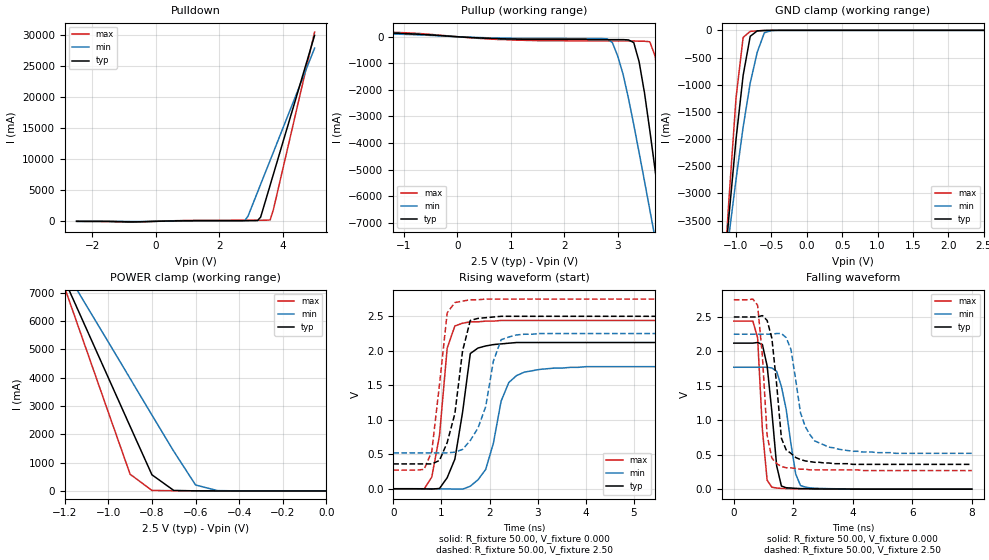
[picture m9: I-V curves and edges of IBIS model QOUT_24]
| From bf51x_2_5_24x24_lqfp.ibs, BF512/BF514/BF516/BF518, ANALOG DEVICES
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|   Model prw1624cdg_25
[Model]   QOUT_24
Model_type   I/O
Polarity   Non-Inverting
Enable   Active-Low
Vinl =   0.70V
Vinh =   1.70V
Vmeas =   1.20V
Cref =  50.00pF
Rref =   1.00M
Vref =  0.000V
C_comp   4.85pF   4.37pF   5.34pF
[Temperature Range]   25.00   0.12k   -40.00
[Voltage Range]   2.50V   2.25V   2.75V
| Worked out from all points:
|   slope of the pulldown table from 0 to 0.375 V, typ, clamps not added: 8.41 ohm
|   slope of the pullup table from 0 to 0.375 V, typ, clamps not added: 8.85 ohm
|   GND clamp passes 1 mA (typ) near -0.53 V on its own axis
|   POWER clamp passes 1 mA (typ) near -0.53 V on its own axis
|   rising waveform, R_fixture 50.00, V_fixture 0.000: 20-80 % time 274ps typ, 375ps min, 224ps max; typ from 0 V to 2.12 V
|   rising waveform, R_fixture 50.00, V_fixture 2.50: 20-80 % time 301ps typ, 360ps min, 237ps max; typ from 0.36 V to 2.5 V
|   falling waveform, R_fixture 50.00, V_fixture 0.000: 20-80 % time 280ps typ, 395ps min, 213ps max; typ from 2.12 V to 0 V
|   falling waveform, R_fixture 50.00, V_fixture 2.50: 20-80 % time 282ps typ, 493ps min, 236ps max; typ from 2.5 V to 0.36 V
[Pulldown]
| voltage   I(typ)   I(min)   I(max)
-2.5V     0A         0A         0A
-900mV    -80.1mA    -23mA      -140mA
1.1V      95.08mA    54.68mA    150mA
2.8V      100mA      110mA      170mA
2.9V      100mA      810mA      170mA
3.2V      120mA      4.67A      170mA
3.3V      670mA      5.96A      170mA
3.6V      5.83A      9.82A      230mA
3.7V      7.55A      11.11A     1.85A
5V        29.94A     27.89A     30.47A
[Pullup]
| voltage   I(typ)   I(min)   I(max)
-2.5V     220mA      190mA      250mA
2.8V      -110mA     -80.42mA   -160mA
2.9V      -110mA     -220mA     -160mA
3V        -110mA     -730mA     -160mA
3.3V      -220mA     -3.31A     -160mA
3.4V      -940mA     -4.36A     -170mA
3.6V      -3.52A     -6.51A     -190mA
3.7V      -5.02A     -7.6A      -730mA
3.8V      -6.56A     -8.69A     -2.28A
4V        -9.68A     -10.89A    -6.43A
4.2V      -12.83A    -13.11A    -10.8A
5V        -25.55A    -22.01A    -28.66A
[GND_clamp]
| voltage   I(typ)   I(min)   I(max)
-2.5V     -25.44A    -19.16A    -34.1A
-1.2V     -4.91A     -4.82A     -5.19A
-1.1V     -3.41A     -3.77A     -3.1A
-1V       -2A        -2.74A     -1.24A
-900mV    -830mA     -1.78A     -130mA
-800mV    -110mA     -970mA     -19.31mA
-700mV    -10.05mA   -400mA     -9.81mA
-600mV    -2.58mA    -44.19mA   -3.5mA
-500mV    -450uA     -4.46mA    -550uA
2.5V      190pA      11.03uA    100pA
[POWER_clamp]
| voltage   I(typ)   I(min)   I(max)
-2.5V     29.82A     24.6A      35.79A
-1.2V     7.44A      7.83A      7.18A
-1.1V     5.72A      6.54A      4.98A
-900mV    2.28A      3.97A      590mA
-800mV    570mA      2.68A      16.99mA
-700mV    17.03mA    1.4A       7.08mA
-600mV    2.36mA     210mA      2.77mA
-500mV    460uA      11.86mA    530uA
0V        190pA      8.27nA     120pA
[Ramp]
| variable   typ   min   max
dV/dt_r   1.27/0.28n   1.06/0.40n   1.46/0.20n
dV/dt_f   1.29/0.30n   1.04/0.50n   1.49/0.21n
R_load = 50.00
[Rising Waveform]
R_fixture = 50.00
V_fixture = 0.000
V_fixture_min = 0.000
V_fixture_max = 0.000
L_fixture = 0.000H
C_fixture = 0.000F
| time   V(typ)   V(min)   V(max)
0s        0V         0V         0V
800ps     -5.06mV    -310uV     170mV
960ps     3.91mV     -1.06mV    770mV
1.12ns    160mV      -2.22mV    2.04V
1.28ns    430mV      -4.53mV    2.36V
1.6ns     1.96V      36.24mV    2.42V
1.76ns    2.04V      130mV      2.42V
2.4ns     2.11V      1.54V      2.44V
2.72ns    2.12V      1.69V      2.44V
8ns       2.12V      1.77V      2.44V
[Rising Waveform]
R_fixture = 50.00
V_fixture = 2.50
V_fixture_min = 2.25
V_fixture_max = 2.75
L_fixture = 0.000H
C_fixture = 0.000F
| time   V(typ)   V(min)   V(max)
0s        360mV      520mV      270mV
640ps     360mV      520mV      280mV
800ps     360mV      520mV      540mV
1.12ns    670mV      520mV      2.55V
1.28ns    1.09V      530mV      2.7V
1.44ns    2V         570mV      2.72V
1.6ns     2.44V      700mV      2.74V
1.92ns    2.48V      1.19V      2.75V
2.24ns    2.5V       2.16V      2.75V
8ns       2.5V       2.25V      2.75V
[Falling Waveform]
R_fixture = 50.00
V_fixture = 0.000
V_fixture_min = 0.000
V_fixture_max = 0.000
L_fixture = 0.000H
C_fixture = 0.000F
| time   V(typ)   V(min)   V(max)
0s        2.12V      1.77V      2.44V
800ps     2.13V      1.77V      2.2V
960ps     2.1V       1.77V      870mV
1.12ns    1.79V      1.77V      130mV
1.28ns    1.12V      1.76V      28.37mV
1.44ns    340mV      1.71V      16.33mV
1.6ns     45.27mV    1.49V      10.87mV
2.08ns    11.64mV    220mV      4.89mV
2.24ns    8.42mV     53.28mV    3.74mV
8ns       11.91uV    62.12uV    -450nV
[Falling Waveform]
R_fixture = 50.00
V_fixture = 2.50
V_fixture_min = 2.25
V_fixture_max = 2.75
L_fixture = 0.000H
C_fixture = 0.000F
| time   V(typ)   V(min)   V(max)
0s        2.5V       2.25V      2.75V
800ps     2.5V       2.25V      2.67V
960ps     2.52V      2.25V      1.94V
1.12ns    2.45V      2.25V      780mV
1.44ns    1.52V      2.26V      370mV
1.6ns     740mV      2.26V      330mV
1.76ns    570mV      2.2V       310mV
2.24ns    430mV      1.11V      290mV
2.72ns    390mV      700mV      280mV
8ns       360mV      520mV      270mV
